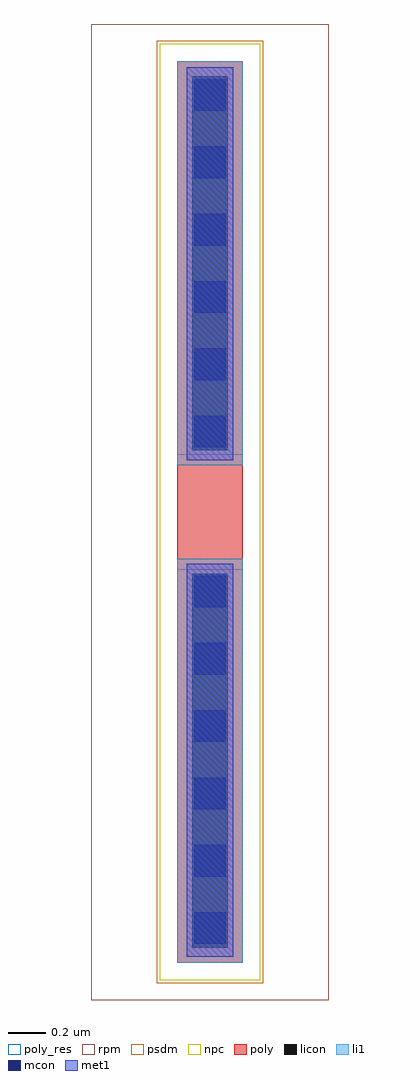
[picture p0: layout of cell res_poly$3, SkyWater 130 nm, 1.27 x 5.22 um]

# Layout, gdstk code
import gdstk
lib = gdstk.Library(unit=1e-6, precision=1e-09)
def R(c, l, rs):  # rectangles x0, y0, x1, y1
    for r in rs: c.add(gdstk.rectangle(r[:2], r[2:], *l))
def A(c, l, x, y, w, h, nx, ny, dx, dy):  # array of equal rectangles
    R(c, l, [(x+i*dx, y+j*dy, x+i*dx+w, y+j*dy+h) for i in range(nx) for j in range(ny)])
poly_res = (66, 13)
poly = (66, 20)
licon = (66, 44)
li1 = (67, 20)
mcon = (67, 44)
met1 = (68, 20)
rpm = (86, 20)
psdm = (94, 20)
npc = (95, 20)

res_poly_3 = lib.new_cell('res_poly$3')
R(res_poly_3, poly_res, [(-0.175,-0.31,0.175,0.31)])
R(res_poly_3, poly, [(-0.175,-2.41,0.175,2.41)])
R(res_poly_3, licon, [(-0.095,-2.33,0.095,-0.33), (-0.095,0.33,0.095,2.33)])
R(res_poly_3, li1, [(-0.175,-2.41,0.175,-0.25), (-0.175,0.25,0.175,2.41)])
A(res_poly_3, mcon, -0.085, -2.31, 0.17, 0.17, 1, 6, 0, 0.36)
A(res_poly_3, mcon, -0.085, 0.345, 0.17, 0.17, 1, 6, 0, 0.36)
R(res_poly_3, met1, [(-0.125,-2.38,0.125,-0.276), (-0.125,0.276,0.125,2.38)])
R(res_poly_3, rpm, [(-0.635,-2.61,0.635,2.61)])
R(res_poly_3, psdm, [(-0.285,-2.52,0.285,2.52)])
R(res_poly_3, npc, [(-0.27,-2.505,0.27,2.505)])

lib.write_gds('res_poly_3.gds')
